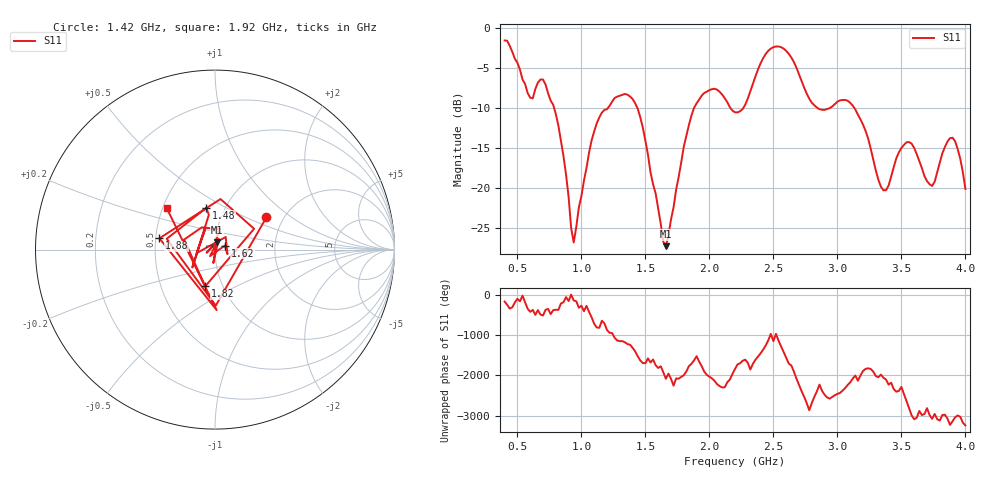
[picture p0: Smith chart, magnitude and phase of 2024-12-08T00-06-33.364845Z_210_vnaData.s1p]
!Created with skrf (http://scikit-rf.org).
# Hz S RI R 50.0
!freq ReS11 ImS11
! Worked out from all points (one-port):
!   181 points, 400 MHz to 4 GHz, reference 50 ohm
!   lowest |S11| = -27.3 dB at 1.66 GHz (marker M1), VSWR 1.09, Z = 51.1 + j4.22 ohm
!   |S11| at or under -10 dB: 786.4 MHz to 1.208 GHz (421.6 MHz wide, 42.3 % of centre); 1.437 GHz to 1.88 GHz (443.4 MHz wide, 26.7 % of centre); 3.131 GHz to end of sweep (the widest 3 of 5)
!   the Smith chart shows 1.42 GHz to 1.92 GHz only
!   S11 on the Smith chart (normalised r, x): 1.42 GHz: 1.64, +0.66; 1.48 GHz: 0.82, +0.40; 1.62 GHz: 1.11, +0.05; 1.82 GHz: 0.83, -0.36; 1.88 GHz: 0.52, +0.07; 1.92 GHz: 0.52, +0.28
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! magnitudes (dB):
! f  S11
! 400 MHz  -1.6
! 600 MHz  -8.7
! 700 MHz  -6.5
! 800 MHz  -10.8
! 860 MHz  -16.0
! 940 MHz  -26.9
! 1.1 GHz  -12.9
! 1.3 GHz  -8.5
! 1.42 GHz  -9.4
! 1.48 GHz  -12.5
! 1.62 GHz  -24.5
! 1.66 GHz  -27.3
! 1.76 GHz  -18.7
! 1.82 GHz  -13.5
! 1.88 GHz  -10.0
! 1.92 GHz  -9.0
! 2.06 GHz  -7.7
! 2.2 GHz  -10.6
! 2.48 GHz  -2.6
! 2.66 GHz  -4.3
! 2.84 GHz  -10.0
! 3.1 GHz  -9.4
! 3.22 GHz  -12.9
! 3.36 GHz  -20.3
! 3.56 GHz  -14.3
! 3.74 GHz  -19.8
! 3.9 GHz  -13.7
! 4 GHz  -20.2
